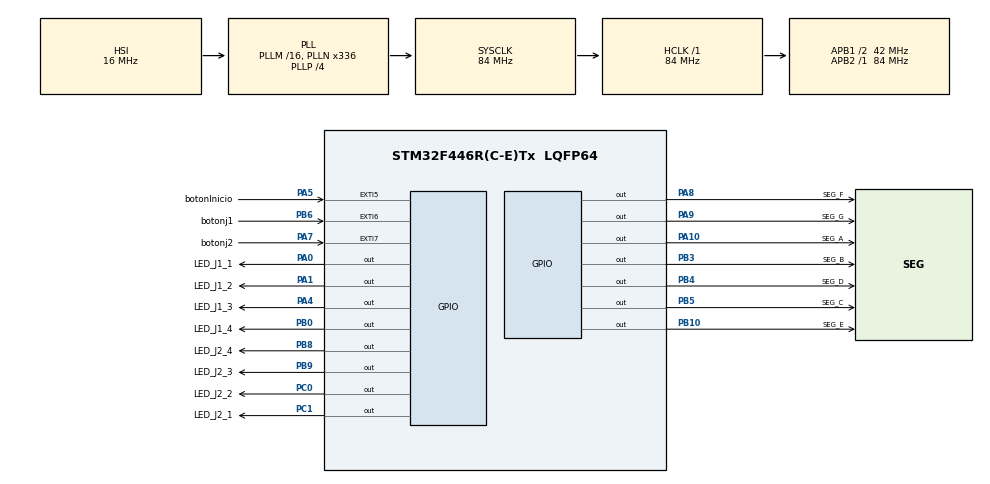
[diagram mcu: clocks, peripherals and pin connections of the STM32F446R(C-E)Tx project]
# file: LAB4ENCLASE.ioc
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Mcu.Family=STM32F4
Mcu.Name=STM32F446R(C-E)Tx
Mcu.Package=LQFP64
NVIC.EXTI9_5_IRQn=true\:0\:0\:false\:false\:true\:true\:true\:true
NVIC.PriorityGroup=NVIC_PRIORITYGROUP_0
PA0-WKUP.GPIO_Label=LED_J1_1
PA0-WKUP.Signal=GPIO_Output
PA1.GPIO_Label=LED_J1_2
PA1.Signal=GPIO_Output
PA10.GPIO_Label=SEG_A
PA10.Signal=GPIO_Output
PA13.GPIO_Label=TMS
PA13.Signal=SYS_JTMS-SWDIO
PA14.GPIO_Label=TCK
PA14.Signal=SYS_JTCK-SWCLK
PA4.GPIO_Label=LED_J1_3
PA4.Signal=GPIO_Output
PA5.GPIO_Label=botonInicio
PA5.GPIO_ModeDefaultEXTI=GPIO_MODE_IT_FALLING
PA5.GPIO_PuPd=GPIO_PULLUP
PA5.Signal=GPXTI5
PA7.GPIO_Label=botonj2
PA7.GPIO_ModeDefaultEXTI=GPIO_MODE_IT_FALLING
PA7.GPIO_PuPd=GPIO_PULLUP
PA7.Signal=GPXTI7
PA8.GPIO_Label=SEG_F
PA8.Signal=GPIO_Output
PA9.GPIO_Label=SEG_G
PA9.Signal=GPIO_Output
PB0.GPIO_Label=LED_J1_4
PB0.Signal=GPIO_Output
PB10.GPIO_Label=SEG_E
PB10.Signal=GPIO_Output
PB3.GPIO_Label=SEG_B
PB3.Signal=GPIO_Output
PB4.GPIO_Label=SEG_D
PB4.Signal=GPIO_Output
PB5.GPIO_Label=SEG_C
PB5.Signal=GPIO_Output
PB6.GPIO_Label=botonj1
PB6.GPIO_ModeDefaultEXTI=GPIO_MODE_IT_FALLING
PB6.GPIO_PuPd=GPIO_PULLUP
PB6.Signal=GPXTI6
PB8.GPIO_Label=LED_J2_4
PB8.Signal=GPIO_Output
PB9.GPIO_Label=LED_J2_3
PB9.Signal=GPIO_Output
PC0.GPIO_Label=LED_J2_2
PC0.Signal=GPIO_Output
PC1.GPIO_Label=LED_J2_1
PC1.Signal=GPIO_Output
PC14-OSC32_IN.Signal=RCC_OSC32_IN
PC15-OSC32_OUT.Signal=RCC_OSC32_OUT
PH0-OSC_IN.Signal=RCC_OSC_IN
PH1-OSC_OUT.Signal=RCC_OSC_OUT
ProjectManager.HeapSize=0x200
ProjectManager.StackSize=0x400
ProjectManager.TargetToolchain=STM32CubeIDE
RCC.AHBFreq_Value=84000000
RCC.APB1CLKDivider=RCC_HCLK_DIV2
RCC.APB1Freq_Value=42000000
RCC.APB1TimFreq_Value=84000000
RCC.APB2Freq_Value=84000000
RCC.APB2TimFreq_Value=84000000
RCC.CortexFreq_Value=84000000
RCC.FLatency-AdvancedSettings=FLASH_LATENCY_2
RCC.HCLKFreq_Value=84000000
RCC.HSE_VALUE=8000000
RCC.HSI_VALUE=16000000
RCC.LSE_VALUE=32768
RCC.PLLN=336
RCC.PLLP=RCC_PLLP_DIV4
RCC.SYSCLKFreq_VALUE=84000000
RCC.SYSCLKSource=RCC_SYSCLKSOURCE_PLLCLK
RCC.USBFreq_Value=168000000
RCC.VCOOutputFreq_Value=336000000
board=NUCLEO-F446RE

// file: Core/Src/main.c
/* USER CODE BEGIN Header */
/**
  ******************************************************************************
  * @file           : main.c
  * @brief          : Main program body
  ******************************************************************************
  * @attention
  *
  * Copyright (c) 2026 STMicroelectronics.
  * All rights reserved.
  *
  * This software is licensed under terms that can be found in the LICENSE file
  * in the root directory of this software component.
  * If no LICENSE file comes with this software, it is provided AS-IS.
  *
  ******************************************************************************
  */
/* USER CODE END Header */
#include "main.h"

/* USER CODE BEGIN Includes */
#include <stdio.h>
/* USER CODE END Includes */

/* USER CODE BEGIN PV */
volatile uint8_t contadorJ1 = 0;
volatile uint8_t contadorJ2 = 0;
volatile uint8_t juegoTerminado = 0;
volatile uint8_t juegoIniciado = 0;
/* USER CODE END PV */

void SystemClock_Config(void);
static void MX_GPIO_Init(void);
/* USER CODE BEGIN PFP */
void actualizarLEDsJugador1(void);
void actualizarLEDsJugador2(void);
void encenderTodosLEDsJugador1(void);
void encenderTodosLEDsJugador2(void);
void apagarTodosLEDsJugador1(void);
void apagarTodosLEDsJugador2(void);
void mostrarGanador(int jugador);
void mostrarNumero(int num);
void iniciarCuentaRegresiva(void);

/* USER CODE END PFP */

int main(void)
{

  /* MCU Configuration--------------------------------------------------------*/

  /* Reset of all peripherals, Initializes the Flash interface and the Systick. */
  HAL_Init();

  /* Configure the system clock */
  SystemClock_Config();

  /* Initialize all configured peripherals */
  MX_GPIO_Init();

  /* Infinite loop */
  /* USER CODE BEGIN WHILE */
  while (1)
  {

	 if (juegoIniciado == 2) {
	          iniciarCuentaRegresiva();  // ejecuta la cuenta regresiva
	          juegoIniciado = 1;         // habilita botones después
	 }
  }
    /* USER CODE END WHILE */

  }

void SystemClock_Config(void)
{
  RCC_OscInitTypeDef RCC_OscInitStruct = {0};
  RCC_ClkInitTypeDef RCC_ClkInitStruct = {0};

  /** Configure the main internal regulator output voltage
  */
  __HAL_RCC_PWR_CLK_ENABLE();
  __HAL_PWR_VOLTAGESCALING_CONFIG(PWR_REGULATOR_VOLTAGE_SCALE3);

  /** Initializes the RCC Oscillators according to the specified parameters
  * in the RCC_OscInitTypeDef structure.
  */
  RCC_OscInitStruct.OscillatorType = RCC_OSCILLATORTYPE_HSI;
  RCC_OscInitStruct.HSIState = RCC_HSI_ON;
  RCC_OscInitStruct.HSICalibrationValue = RCC_HSICALIBRATION_DEFAULT;
  RCC_OscInitStruct.PLL.PLLState = RCC_PLL_ON;
  RCC_OscInitStruct.PLL.PLLSource = RCC_PLLSOURCE_HSI;
  RCC_OscInitStruct.PLL.PLLM = 16;
  RCC_OscInitStruct.PLL.PLLN = 336;
  RCC_OscInitStruct.PLL.PLLP = RCC_PLLP_DIV4;
  RCC_OscInitStruct.PLL.PLLQ = 2;
  RCC_OscInitStruct.PLL.PLLR = 2;
  if (HAL_RCC_OscConfig(&RCC_OscInitStruct) != HAL_OK)
  {
    Error_Handler();
  }

  /** Initializes the CPU, AHB and APB buses clocks
  */
  RCC_ClkInitStruct.ClockType = RCC_CLOCKTYPE_HCLK|RCC_CLOCKTYPE_SYSCLK
                              |RCC_CLOCKTYPE_PCLK1|RCC_CLOCKTYPE_PCLK2;
  RCC_ClkInitStruct.SYSCLKSource = RCC_SYSCLKSOURCE_PLLCLK;
  RCC_ClkInitStruct.AHBCLKDivider = RCC_SYSCLK_DIV1;
  RCC_ClkInitStruct.APB1CLKDivider = RCC_HCLK_DIV2;
  RCC_ClkInitStruct.APB2CLKDivider = RCC_HCLK_DIV1;

  if (HAL_RCC_ClockConfig(&RCC_ClkInitStruct, FLASH_LATENCY_2) != HAL_OK)
  {
    Error_Handler();
  }
}

static void MX_GPIO_Init(void)
{
  GPIO_InitTypeDef GPIO_InitStruct = {0};

  /* GPIO Ports Clock Enable */
  __HAL_RCC_GPIOC_CLK_ENABLE();
  __HAL_RCC_GPIOH_CLK_ENABLE();
  __HAL_RCC_GPIOA_CLK_ENABLE();
  __HAL_RCC_GPIOB_CLK_ENABLE();

  /*Configure GPIO pin Output Level */
  HAL_GPIO_WritePin(GPIOC, LED_J2_2_Pin|LED_J2_1_Pin, GPIO_PIN_RESET);

  /*Configure GPIO pin Output Level */
  HAL_GPIO_WritePin(GPIOA, LED_J1_1_Pin|LED_J1_2_Pin|LED_J1_3_Pin|SEG_F_Pin
                          |SEG_G_Pin|SEG_A_Pin, GPIO_PIN_RESET);

  /*Configure GPIO pin Output Level */
  HAL_GPIO_WritePin(GPIOB, LED_J1_4_Pin|SEG_E_Pin|SEG_B_Pin|SEG_D_Pin
                          |SEG_C_Pin|LED_J2_4_Pin|LED_J2_3_Pin, GPIO_PIN_RESET);

  /*Configure GPIO pins : LED_J2_2_Pin LED_J2_1_Pin */
  GPIO_InitStruct.Pin = LED_J2_2_Pin|LED_J2_1_Pin;
  GPIO_InitStruct.Mode = GPIO_MODE_OUTPUT_PP;
  GPIO_InitStruct.Pull = GPIO_NOPULL;
  GPIO_InitStruct.Speed = GPIO_SPEED_FREQ_LOW;
  HAL_GPIO_Init(GPIOC, &GPIO_InitStruct);

  /*Configure GPIO pins : LED_J1_1_Pin LED_J1_2_Pin LED_J1_3_Pin SEG_F_Pin
                           SEG_G_Pin SEG_A_Pin */
  GPIO_InitStruct.Pin = LED_J1_1_Pin|LED_J1_2_Pin|LED_J1_3_Pin|SEG_F_Pin
                          |SEG_G_Pin|SEG_A_Pin;
  GPIO_InitStruct.Mode = GPIO_MODE_OUTPUT_PP;
  GPIO_InitStruct.Pull = GPIO_NOPULL;
  GPIO_InitStruct.Speed = GPIO_SPEED_FREQ_LOW;
  HAL_GPIO_Init(GPIOA, &GPIO_InitStruct);

  /*Configure GPIO pins : botonInicio_Pin botonj2_Pin */
  GPIO_InitStruct.Pin = botonInicio_Pin|botonj2_Pin;
  GPIO_InitStruct.Mode = GPIO_MODE_IT_FALLING;
  GPIO_InitStruct.Pull = GPIO_PULLUP;
  HAL_GPIO_Init(GPIOA, &GPIO_InitStruct);

  /*Configure GPIO pins : LED_J1_4_Pin SEG_E_Pin SEG_B_Pin SEG_D_Pin
                           SEG_C_Pin LED_J2_4_Pin LED_J2_3_Pin */
  GPIO_InitStruct.Pin = LED_J1_4_Pin|SEG_E_Pin|SEG_B_Pin|SEG_D_Pin
                          |SEG_C_Pin|LED_J2_4_Pin|LED_J2_3_Pin;
  GPIO_InitStruct.Mode = GPIO_MODE_OUTPUT_PP;
  GPIO_InitStruct.Pull = GPIO_NOPULL;
  GPIO_InitStruct.Speed = GPIO_SPEED_FREQ_LOW;
  HAL_GPIO_Init(GPIOB, &GPIO_InitStruct);

  /*Configure GPIO pin : botonj1_Pin */
  GPIO_InitStruct.Pin = botonj1_Pin;
  GPIO_InitStruct.Mode = GPIO_MODE_IT_FALLING;
  GPIO_InitStruct.Pull = GPIO_PULLUP;
  HAL_GPIO_Init(botonj1_GPIO_Port, &GPIO_InitStruct);

  /* EXTI interrupt init*/
  HAL_NVIC_SetPriority(EXTI9_5_IRQn, 0, 0);
  HAL_NVIC_EnableIRQ(EXTI9_5_IRQn);

}

/* USER CODE BEGIN 4 */
void iniciarCuentaRegresiva(void) {
    juegoIniciado = 0; // bloquear botones

    for (int i = 5; i >= 0; i--) {
        mostrarNumero(i);   // mostrar en display
        HAL_Delay(1000);    // esperar 1 segundo
    }

    juegoIniciado = 1; // habilitar botones
}

void mostrarGanador(int jugador) {
    mostrarNumero(jugador); // muestra 1 o 2 en el display
}

void mostrarNumero(int num) {
    // Apagar todos los segmentos primero
    HAL_GPIO_WritePin(SEG_A_GPIO_Port, SEG_A_Pin, GPIO_PIN_RESET);
    HAL_GPIO_WritePin(SEG_B_GPIO_Port, SEG_B_Pin, GPIO_PIN_RESET);
    HAL_GPIO_WritePin(SEG_C_GPIO_Port, SEG_C_Pin, GPIO_PIN_RESET);
    HAL_GPIO_WritePin(SEG_D_GPIO_Port, SEG_D_Pin, GPIO_PIN_RESET);
    HAL_GPIO_WritePin(SEG_E_GPIO_Port, SEG_E_Pin, GPIO_PIN_RESET);
    HAL_GPIO_WritePin(SEG_F_GPIO_Port, SEG_F_Pin, GPIO_PIN_RESET);
    HAL_GPIO_WritePin(SEG_G_GPIO_Port, SEG_G_Pin, GPIO_PIN_RESET);

    switch(num) {
        case 0: // segmentos A, B, C, D, E, F
            HAL_GPIO_WritePin(SEG_A_GPIO_Port, SEG_A_Pin, GPIO_PIN_SET);
            HAL_GPIO_WritePin(SEG_B_GPIO_Port, SEG_B_Pin, GPIO_PIN_SET);
            HAL_GPIO_WritePin(SEG_C_GPIO_Port, SEG_C_Pin, GPIO_PIN_SET);
            HAL_GPIO_WritePin(SEG_D_GPIO_Port, SEG_D_Pin, GPIO_PIN_SET);
            HAL_GPIO_WritePin(SEG_E_GPIO_Port, SEG_E_Pin, GPIO_PIN_SET);
            HAL_GPIO_WritePin(SEG_F_GPIO_Port, SEG_F_Pin, GPIO_PIN_SET);
            break;
        case 1: // segmentos B y C
            HAL_GPIO_WritePin(SEG_B_GPIO_Port, SEG_B_Pin, GPIO_PIN_SET);
            HAL_GPIO_WritePin(SEG_C_GPIO_Port, SEG_C_Pin, GPIO_PIN_SET);
            break;
        case 2: // segmentos A, B, D, E, G
            HAL_GPIO_WritePin(SEG_A_GPIO_Port, SEG_A_Pin, GPIO_PIN_SET);
            HAL_GPIO_WritePin(SEG_B_GPIO_Port, SEG_B_Pin, GPIO_PIN_SET);
            HAL_GPIO_WritePin(SEG_D_GPIO_Port, SEG_D_Pin, GPIO_PIN_SET);
            HAL_GPIO_WritePin(SEG_E_GPIO_Port, SEG_E_Pin, GPIO_PIN_SET);
            HAL_GPIO_WritePin(SEG_G_GPIO_Port, SEG_G_Pin, GPIO_PIN_SET);
            break;
        case 3: // segmentos A, B, C, D, G
            HAL_GPIO_WritePin(SEG_A_GPIO_Port, SEG_A_Pin, GPIO_PIN_SET);
            HAL_GPIO_WritePin(SEG_B_GPIO_Port, SEG_B_Pin, GPIO_PIN_SET);
            HAL_GPIO_WritePin(SEG_C_GPIO_Port, SEG_C_Pin, GPIO_PIN_SET);
            HAL_GPIO_WritePin(SEG_D_GPIO_Port, SEG_D_Pin, GPIO_PIN_SET);
            HAL_GPIO_WritePin(SEG_G_GPIO_Port, SEG_G_Pin, GPIO_PIN_SET);
            break;
        case 4: // segmentos B, C, F, G
            HAL_GPIO_WritePin(SEG_B_GPIO_Port, SEG_B_Pin, GPIO_PIN_SET);
            HAL_GPIO_WritePin(SEG_C_GPIO_Port, SEG_C_Pin, GPIO_PIN_SET);
            HAL_GPIO_WritePin(SEG_F_GPIO_Port, SEG_F_Pin, GPIO_PIN_SET);
            HAL_GPIO_WritePin(SEG_G_GPIO_Port, SEG_G_Pin, GPIO_PIN_SET);
            break;
        case 5: // segmentos A, C, D, F, G
            HAL_GPIO_WritePin(SEG_A_GPIO_Port, SEG_A_Pin, GPIO_PIN_SET);
            HAL_GPIO_WritePin(SEG_C_GPIO_Port, SEG_C_Pin, GPIO_PIN_SET);
            HAL_GPIO_WritePin(SEG_D_GPIO_Port, SEG_D_Pin, GPIO_PIN_SET);
            HAL_GPIO_WritePin(SEG_F_GPIO_Port, SEG_F_Pin, GPIO_PIN_SET);
            HAL_GPIO_WritePin(SEG_G_GPIO_Port, SEG_G_Pin, GPIO_PIN_SET);
            break;
    }
}

void actualizarLEDsJugador1(void) {
    HAL_GPIO_WritePin(LED_J1_1_GPIO_Port, LED_J1_1_Pin, (contadorJ1 >= 1) ? GPIO_PIN_SET : GPIO_PIN_RESET);
    HAL_GPIO_WritePin(LED_J1_2_GPIO_Port, LED_J1_2_Pin, (contadorJ1 >= 2) ? GPIO_PIN_SET : GPIO_PIN_RESET);
    HAL_GPIO_WritePin(LED_J1_3_GPIO_Port, LED_J1_3_Pin, (contadorJ1 >= 3) ? GPIO_PIN_SET : GPIO_PIN_RESET);
    HAL_GPIO_WritePin(LED_J1_4_GPIO_Port, LED_J1_4_Pin, (contadorJ1 >= 4) ? GPIO_PIN_SET : GPIO_PIN_RESET);
}

void encenderTodosLEDsJugador1(void) {
    HAL_GPIO_WritePin(LED_J1_1_GPIO_Port, LED_J1_1_Pin, GPIO_PIN_SET);
    HAL_GPIO_WritePin(LED_J1_2_GPIO_Port, LED_J1_2_Pin, GPIO_PIN_SET);
    HAL_GPIO_WritePin(LED_J1_3_GPIO_Port, LED_J1_3_Pin, GPIO_PIN_SET);
    HAL_GPIO_WritePin(LED_J1_4_GPIO_Port, LED_J1_4_Pin, GPIO_PIN_SET);
}

void apagarTodosLEDsJugador2(void) {
    HAL_GPIO_WritePin(LED_J2_1_GPIO_Port, LED_J2_1_Pin, GPIO_PIN_RESET);
    HAL_GPIO_WritePin(LED_J2_2_GPIO_Port, LED_J2_2_Pin, GPIO_PIN_RESET);
    HAL_GPIO_WritePin(LED_J2_3_GPIO_Port, LED_J2_3_Pin, GPIO_PIN_RESET);
    HAL_GPIO_WritePin(LED_J2_4_GPIO_Port, LED_J2_4_Pin, GPIO_PIN_RESET);
}

void actualizarLEDsJugador2(void) {
    HAL_GPIO_WritePin(LED_J2_1_GPIO_Port, LED_J2_1_Pin, (contadorJ2 >= 1) ? GPIO_PIN_SET : GPIO_PIN_RESET);
    HAL_GPIO_WritePin(LED_J2_2_GPIO_Port, LED_J2_2_Pin, (contadorJ2 >= 2) ? GPIO_PIN_SET : GPIO_PIN_RESET);
    HAL_GPIO_WritePin(LED_J2_3_GPIO_Port, LED_J2_3_Pin, (contadorJ2 >= 3) ? GPIO_PIN_SET : GPIO_PIN_RESET);
    HAL_GPIO_WritePin(LED_J2_4_GPIO_Port, LED_J2_4_Pin, (contadorJ2 >= 4) ? GPIO_PIN_SET : GPIO_PIN_RESET);
}

void encenderTodosLEDsJugador2(void) {
    HAL_GPIO_WritePin(LED_J2_1_GPIO_Port, LED_J2_1_Pin, GPIO_PIN_SET);
    HAL_GPIO_WritePin(LED_J2_2_GPIO_Port, LED_J2_2_Pin, GPIO_PIN_SET);
    HAL_GPIO_WritePin(LED_J2_3_GPIO_Port, LED_J2_3_Pin, GPIO_PIN_SET);
    HAL_GPIO_WritePin(LED_J2_4_GPIO_Port, LED_J2_4_Pin, GPIO_PIN_SET);
}

void apagarTodosLEDsJugador1(void) {
    HAL_GPIO_WritePin(LED_J1_1_GPIO_Port, LED_J1_1_Pin, GPIO_PIN_RESET);
    HAL_GPIO_WritePin(LED_J1_2_GPIO_Port, LED_J1_2_Pin, GPIO_PIN_RESET);
    HAL_GPIO_WritePin(LED_J1_3_GPIO_Port, LED_J1_3_Pin, GPIO_PIN_RESET);
    HAL_GPIO_WritePin(LED_J1_4_GPIO_Port, LED_J1_4_Pin, GPIO_PIN_RESET);
}

void HAL_GPIO_EXTI_Callback(uint16_t GPIO_Pin) {
    if (GPIO_Pin == botonInicio_Pin) {
        juegoIniciado = 2; // activa bandera para iniciar cuenta regresiva en el main loop
        return;
    }

    if (!juegoIniciado) return;   // si no ha iniciado la carrera, ignorar botones
    if (juegoTerminado) return;   // si ya hay ganador, no hacer nada

    // Jugador 1
    if (GPIO_Pin == botonj1_Pin) {
        contadorJ1++;
        if (contadorJ1 > 4) contadorJ1 = 4;
        actualizarLEDsJugador1();

        if (contadorJ1 == 4) {
            juegoTerminado = 1;
            encenderTodosLEDsJugador1();
            apagarTodosLEDsJugador2();
            mostrarGanador(1);
        }
    }

    // Jugador 2
    if (GPIO_Pin == botonj2_Pin) {
        contadorJ2++;
        if (contadorJ2 > 4) contadorJ2 = 4;
        actualizarLEDsJugador2();

        if (contadorJ2 == 4) {
            juegoTerminado = 1;
            encenderTodosLEDsJugador2();
            apagarTodosLEDsJugador1();
            mostrarGanador(2);
        }
    }
}

/* USER CODE END 4 */

void Error_Handler(void)
{
  __disable_irq();
  while (1)
  {
  }
}
